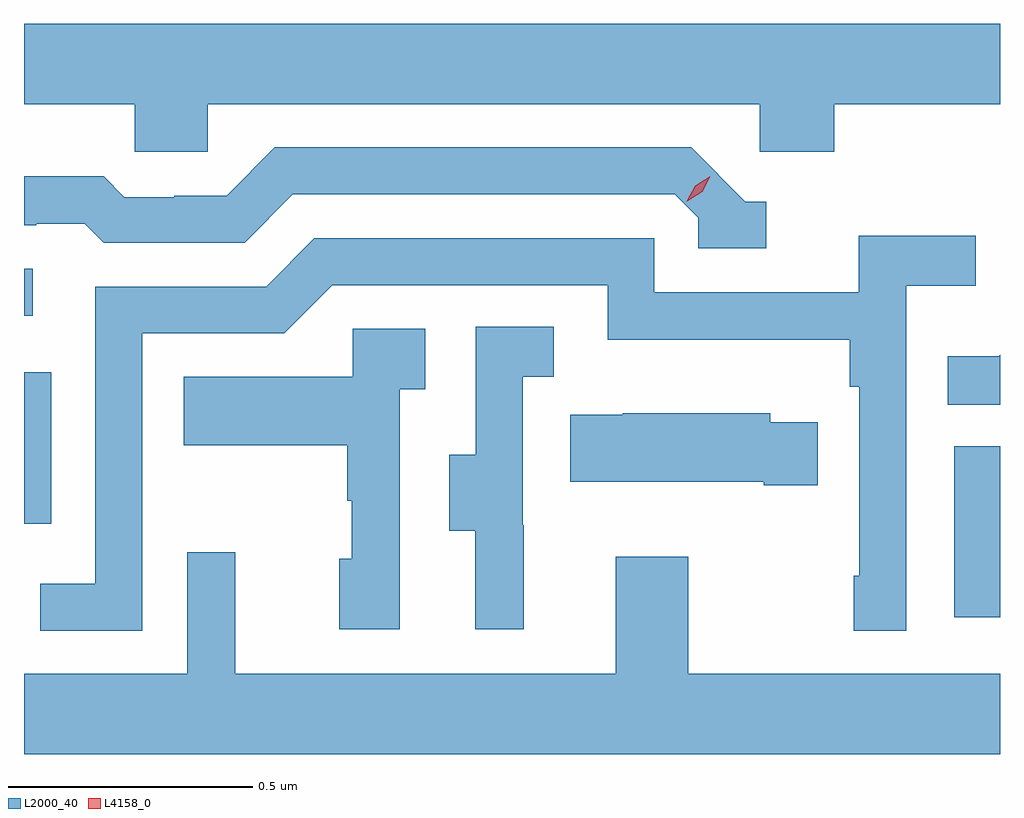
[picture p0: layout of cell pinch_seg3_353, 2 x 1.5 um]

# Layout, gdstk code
import gdstk
lib = gdstk.Library(unit=1e-6, precision=1e-09)
def R(c, l, rs):  # rectangles x0, y0, x1, y1
    for r in rs: c.add(gdstk.rectangle(r[:2], r[2:], *l))
def P(c, l, *ps):  # polygons
    for p in ps: c.add(gdstk.Polygon(p, *l))
L2000_40 = (2000, 40)
L4158_0 = (4158, 0)

pinch_seg3_353 = lib.new_cell('pinch_seg3_353')
R(pinch_seg3_353, L2000_40, [(1014.938,691.872,1015.032,692.223), (1013.032,692.064,1013.088,692.374), (1013.032,692.49,1013.05,692.586)])
P(pinch_seg3_353, L2000_40, [(1013.409,692.924),(1014.54,692.924),(1014.54,692.826),(1014.692,692.826),(1014.692,692.924),(1015.032,692.924),(1015.032,693.088),(1013.032,693.088),(1013.032,692.924),(1013.259,692.924),(1013.259,692.826),(1013.409,692.826)],
  [(1014.553,692.724),(1014.51,692.724),(1014.399,692.835),(1013.546,692.835),(1013.447,692.736),(1013.34,692.736),(1013.34,692.733),(1013.237,692.733),(1013.195,692.776),(1013.032,692.776),(1013.032,692.676),(1013.057,692.676),(1013.057,692.679),(1013.156,692.679),(1013.195,692.64),(1013.484,692.64),(1013.583,692.739),(1014.366,692.739),(1014.414,692.691),(1014.414,692.628),(1014.553,692.628)],
  [(1013.274,692.454),(1013.565,692.454),(1013.664,692.553),(1014.228,692.553),(1014.228,692.441),(1014.724,692.441),(1014.724,692.345),(1014.744,692.345),(1014.744,691.957),(1014.732,691.957),(1014.732,691.845),(1014.84,691.845),(1014.84,692.552),(1014.982,692.552),(1014.982,692.654),(1014.743,692.654),(1014.743,692.538),(1014.324,692.538),(1014.324,692.649),(1013.627,692.649),(1013.528,692.55),(1013.178,692.55),(1013.178,691.941),(1013.065,691.941),(1013.065,691.845),(1013.274,691.845)],
  [(1014.056,692.061),(1014.054,692.061),(1014.054,692.365),(1014.118,692.365),(1014.118,692.468),(1013.958,692.468),(1013.958,692.205),(1013.903,692.205),(1013.903,692.05),(1013.957,692.05),(1013.957,691.848),(1014.056,691.848)],
  [(1013.802,692.339),(1013.854,692.339),(1013.854,692.463),(1013.706,692.463),(1013.706,692.365),(1013.359,692.365),(1013.359,692.225),(1013.694,692.225),(1013.694,692.111),(1013.704,692.111),(1013.704,691.992),(1013.678,691.992),(1013.678,691.848),(1013.802,691.848)],
  [(1015.032,692.41),(1015.029,692.407),(1014.925,692.407),(1014.925,692.308),(1015.032,692.308)],
  [(1014.659,692.272),(1014.561,692.272),(1014.561,692.29),(1014.259,692.29),(1014.259,692.287),(1014.151,692.287),(1014.151,692.15),(1014.548,692.15),(1014.548,692.143),(1014.659,692.143)],
  [(1015.032,691.756),(1014.393,691.756),(1014.393,691.996),(1014.245,691.996),(1014.245,691.756),(1013.465,691.756),(1013.465,692.005),(1013.367,692.005),(1013.367,691.756),(1013.032,691.756),(1013.032,691.592),(1015.032,691.592)])
P(pinch_seg3_353, L4158_0, [(1014.39,692.725),(1014.39,692.725),(1014.407,692.757),(1014.438,692.776),(1014.438,692.776),(1014.438,692.776),(1014.422,692.744),(1014.391,692.725)])

lib.write_gds('pinch_seg3_353.gds')
